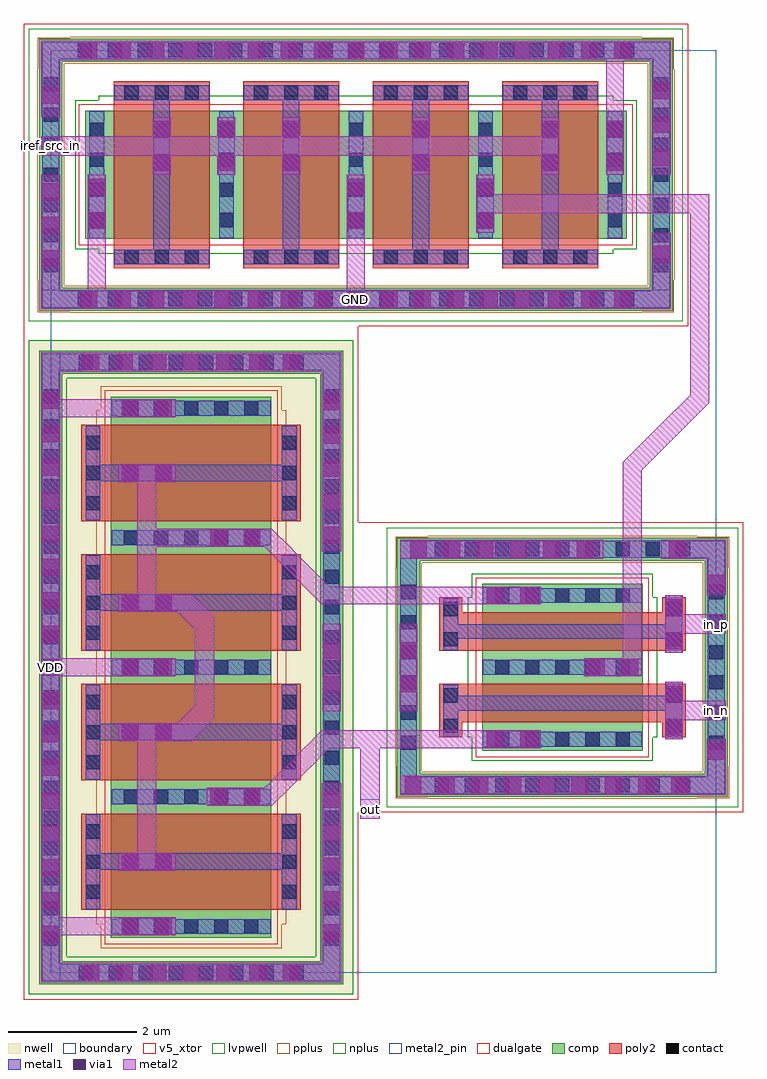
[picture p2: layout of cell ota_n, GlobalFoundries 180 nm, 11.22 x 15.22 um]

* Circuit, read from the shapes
.subckt ota_n GND VDD in_n in_p iref_src_in out
XM1 iref_src_in iref_src_in GND GND nfet_05v0 w=2u l=1.5u m=2
XM2 n1 iref_src_in GND GND nfet_05v0 w=2u l=1.5u m=2
XM3 n1 in_n out GND nfet_05v0 w=2.5u l=0.6u
XM4 n2 in_p n1 GND nfet_05v0 w=2.5u l=0.6u
XM5 out n2 VDD VDD pfet_05v0 w=2.5u l=1.5u m=2
XM6 n2 n2 VDD VDD pfet_05v0 w=2.5u l=1.5u m=2
.ends

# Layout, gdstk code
from math import pi, radians
import gdstk
lib = gdstk.Library(unit=1e-6, precision=1e-09)
def R(c, l, rs):  # rectangles x0, y0, x1, y1
    for r in rs: c.add(gdstk.rectangle(r[:2], r[2:], *l))
def A(c, l, x, y, w, h, nx, ny, dx, dy):  # array of equal rectangles
    R(c, l, [(x+i*dx, y+j*dy, x+i*dx+w, y+j*dy+h) for i in range(nx) for j in range(ny)])
def P(c, l, *ps):  # polygons
    for p in ps: c.add(gdstk.Polygon(p, *l))
boundary = (0, 0)
nwell = (21, 0)
comp = (22, 0)
poly2 = (30, 0)
pplus = (31, 0)
nplus = (32, 0)
contact = (33, 0)
metal1 = (34, 0)
via1 = (35, 0)
metal2 = (36, 0)
metal2_pin = (36, 10)
dualgate = (55, 0)
v5_xtor = (112, 1)
lvpwell = (204, 0)

ota_n_dp = lib.new_cell('ota_n_dp')
R(ota_n_dp, boundary, [(-1.84,-2.4,1.84,2.4)])
R(ota_n_dp, comp, [(-2.02,-2.58,2.02,-2.22), (-2.02,-2.22,-1.66,2.22), (1.66,-2.22,2.02,2.22), (-1.3,-1.25,1.3,1.25), (-2.02,2.22,2.02,2.58)])
R(ota_n_dp, poly2, [(-1.09,-1.92,-0.26,-1.56), (0.26,-1.92,1.09,-1.56), (-0.86,-1.56,-0.26,1.56), (0.26,-1.56,0.86,1.56), (-1.09,1.56,-0.26,1.92), (0.26,1.56,1.09,1.92)])
R(ota_n_dp, pplus, [(-1.535,-2.61,1.535,-2.6), (-2.04,-2.6,2.04,-2.19), (-2.04,-2.19,-1.63,-2.095), (1.63,-2.19,2.04,-2.095), (-2.05,-2.095,-1.63,2.095), (1.63,-2.095,2.05,2.095), (-2.04,2.095,-1.63,2.19), (1.63,2.095,2.04,2.19), (-2.04,2.19,2.04,2.6), (-1.535,2.6,1.535,2.61)])
R(ota_n_dp, nplus, [(-1.09,-1.48,1.09,-1.41), (-1.46,-1.41,1.46,1.41), (-1.09,1.41,1.09,1.48)])
A(ota_n_dp, contact, -1.285, -2.51, 0.22, 0.22, 6, 2, 0.47, 4.8)
A(ota_n_dp, contact, -1.95, -1.99, 0.22, 0.22, 1, 9, 0, 0.47)
A(ota_n_dp, contact, 1.73, -1.99, 0.22, 0.22, 1, 9, 0, 0.47)
A(ota_n_dp, contact, -1.23, -1.05, 0.22, 0.22, 3, 5, 1.12, 0.47)
R(ota_n_dp, contact, [(-1.02,-1.85,-0.8,-1.63), (-0.55,-1.85,-0.33,-1.63), (0.33,-1.85,0.55,-1.63), (0.8,-1.85,1.02,-1.63), (-1.02,1.63,-0.8,1.85), (-0.55,1.63,-0.33,1.85), (0.33,1.63,0.55,1.85), (0.8,1.63,1.02,1.85)])
A(ota_n_dp, metal1, -1.235, -1.24, 0.23, 2.48, 3, 1, 1.12, 0)
R(ota_n_dp, metal1, [(-1.955,-2.515,1.955,-2.285), (-1.955,-2.285,-1.725,2.285), (1.725,-2.285,1.955,2.285), (-1.08,-1.855,-0.27,-1.625), (0.27,-1.855,1.08,-1.625), (-0.675,-1.625,-0.445,1.625), (0.445,-1.625,0.675,1.625), (-1.08,1.625,-0.27,1.855), (0.27,1.625,1.08,1.855), (-1.955,2.285,1.955,2.515)])
R(ota_n_dp, dualgate, [(-2.26,-2.82,2.26,2.82)])
R(ota_n_dp, v5_xtor, [(-1.4,-1.35,1.4,1.35)])
R(ota_n_dp, lvpwell, [(-2.18,-2.74,2.18,2.74)])

ota_n_ld_cm = lib.new_cell('ota_n_ld_cm')
R(ota_n_ld_cm, boundary, [(-4.76,-2.19,4.76,2.19)])
R(ota_n_ld_cm, nwell, [(-5.1,-2.53,5.1,2.53)])
R(ota_n_ld_cm, comp, [(-4.94,-2.37,4.94,-2.01), (-4.94,-2.01,-4.58,2.01), (4.58,-2.01,4.94,2.01), (-4.22,-1.25,4.22,1.25), (-4.94,2.01,4.94,2.37)])
A(ota_n_ld_cm, poly2, -3.78, -1.71, 1.5, 3.42, 4, 1, 2.02, 0)
R(ota_n_ld_cm, pplus, [(-4.01,-1.48,4.01,-1.41), (-4.38,-1.41,4.38,1.41), (-4.01,1.41,4.01,1.48)])
R(ota_n_ld_cm, nplus, [(-5.1,-2.53,5.1,-1.94), (-5.1,-1.94,-4.51,1.94), (4.51,-1.94,5.1,1.94), (-5.1,1.94,5.1,2.53)])
A(ota_n_ld_cm, contact, -4.34, -2.3, 0.22, 0.22, 19, 2, 0.47, 4.38)
A(ota_n_ld_cm, contact, -4.87, -1.755, 0.22, 0.22, 1, 8, 0, 0.47)
A(ota_n_ld_cm, contact, 4.65, -1.755, 0.22, 0.22, 1, 8, 0, 0.47)
A(ota_n_ld_cm, contact, -3.61, -1.64, 0.22, 0.22, 3, 2, 0.47, 3.06)
A(ota_n_ld_cm, contact, -1.59, -1.64, 0.22, 0.22, 3, 2, 0.47, 3.06)
A(ota_n_ld_cm, contact, 0.43, -1.64, 0.22, 0.22, 3, 2, 0.47, 3.06)
A(ota_n_ld_cm, contact, 2.45, -1.64, 0.22, 0.22, 3, 2, 0.47, 3.06)
A(ota_n_ld_cm, contact, -4.15, -1.05, 0.22, 0.22, 5, 5, 2.02, 0.47)
A(ota_n_ld_cm, metal1, -3.77, -1.645, 1.48, 0.23, 4, 2, 2.02, 3.06)
A(ota_n_ld_cm, metal1, -4.155, -1.24, 0.23, 2.48, 5, 1, 2.02, 0)
R(ota_n_ld_cm, metal1, [(-4.875,-2.305,4.875,-2.075), (-4.875,-2.075,-4.645,2.075), (4.645,-2.075,4.875,2.075), (-4.875,2.075,4.875,2.305)])
R(ota_n_ld_cm, dualgate, [(-5.18,-2.61,5.18,2.61)])
R(ota_n_ld_cm, v5_xtor, [(-4.32,-1.35,4.32,1.35)])

ota_n_tail_cm = lib.new_cell('ota_n_tail_cm')
R(ota_n_tail_cm, boundary, [(-4.76,-1.94,4.76,1.94)])
R(ota_n_tail_cm, comp, [(-4.94,-2.12,4.94,-1.76), (-4.94,-1.76,-4.58,1.76), (4.58,-1.76,4.94,1.76), (-4.22,-1,4.22,1), (-4.94,1.76,4.94,2.12)])
A(ota_n_tail_cm, poly2, -3.78, -1.46, 1.5, 2.92, 4, 1, 2.02, 0)
R(ota_n_tail_cm, pplus, [(-4.455,-2.15,4.455,-2.14), (-4.96,-2.14,4.96,-1.73), (-4.96,-1.73,-4.55,-1.635), (4.55,-1.73,4.96,-1.635), (-4.97,-1.635,-4.55,1.635), (4.55,-1.635,4.97,1.635), (-4.96,1.635,-4.55,1.73), (4.55,1.635,4.96,1.73), (-4.96,1.73,4.96,2.14), (-4.455,2.14,4.455,2.15)])
R(ota_n_tail_cm, nplus, [(-4.01,-1.23,4.01,-1.16), (-4.38,-1.16,4.38,1.16), (-4.01,1.16,4.01,1.23)])
A(ota_n_tail_cm, contact, -4.34, -2.05, 0.22, 0.22, 19, 2, 0.47, 3.88)
A(ota_n_tail_cm, contact, -4.87, -1.52, 0.22, 0.22, 1, 7, 0, 0.47)
A(ota_n_tail_cm, contact, 4.65, -1.52, 0.22, 0.22, 1, 7, 0, 0.47)
A(ota_n_tail_cm, contact, -3.61, -1.39, 0.22, 0.22, 3, 2, 0.47, 2.56)
A(ota_n_tail_cm, contact, -1.59, -1.39, 0.22, 0.22, 3, 2, 0.47, 2.56)
A(ota_n_tail_cm, contact, 0.43, -1.39, 0.22, 0.22, 3, 2, 0.47, 2.56)
A(ota_n_tail_cm, contact, 2.45, -1.39, 0.22, 0.22, 3, 2, 0.47, 2.56)
A(ota_n_tail_cm, contact, -4.15, -0.815, 0.22, 0.22, 5, 4, 2.02, 0.47)
A(ota_n_tail_cm, metal1, -3.77, -1.395, 1.48, 0.23, 4, 2, 2.02, 2.56)
A(ota_n_tail_cm, metal1, -4.155, -0.99, 0.23, 1.98, 5, 1, 2.02, 0)
R(ota_n_tail_cm, metal1, [(-4.875,-2.055,4.875,-1.825), (-4.875,-1.825,-4.645,1.825), (4.645,-1.825,4.875,1.825), (-4.875,1.825,4.875,2.055)])
R(ota_n_tail_cm, dualgate, [(-5.18,-2.36,5.18,2.36)])
R(ota_n_tail_cm, v5_xtor, [(-4.32,-1.1,4.32,1.1)])
R(ota_n_tail_cm, lvpwell, [(-5.1,-2.28,5.1,2.28)])

ota_n = lib.new_cell('ota_n')
R(ota_n, boundary, [(0,0,10.38,14.38)])
A(ota_n, metal1, 1.05, 0.59, 0.9, 0.26, 1, 3, 0, 4.04)
A(ota_n, metal1, 0.775, 1.6, 2.83, 0.26, 1, 4, 0, 2.02)
A(ota_n, metal1, 1.6, 11.275, 0.26, 2.33, 4, 1, 2.02, 0)
R(ota_n, metal1, [(-0.13,-0.13,4.51,0.13), (-0.13,0.13,0.13,9.39), (4.25,0.13,4.51,9.39), (2.43,2.61,3.33,2.87), (5.45,2.79,10.51,3.05), (5.45,3.05,5.71,6.47), (10.25,3.05,10.51,6.47), (6.74,3.51,7.64,3.77), (9.59,3.635,9.85,3.855), (9.58,3.855,9.85,4.085), (9.59,4.085,9.85,4.535), (8.32,4.63,9.22,4.89), (9.59,4.985,9.85,5.885), (6.74,5.75,7.64,6.01), (5.45,6.47,10.51,6.73), (2.43,6.65,3.33,6.91), (-0.13,9.39,4.51,9.65), (-0.13,10.37,9.65,10.63), (-0.13,10.63,0.13,14.25), (9.39,10.63,9.65,14.25), (0.59,11.54,0.85,12.44), (4.63,11.54,4.89,12.44), (6.65,11.54,6.91,12.44), (2.61,12.44,2.87,13.34), (8.67,12.44,8.93,13.34), (6.665,12.475,6.895,12.48), (-0.13,14.25,9.65,14.51)])
A(ota_n, via1, 0.5, -0.13, 0.26, 0.26, 7, 2, 0.52, 9.52)
A(ota_n, via1, -0.13, 0.47, 0.26, 0.26, 1, 17, 0, 0.52)
A(ota_n, via1, 4.25, 0.49, 0.26, 0.26, 1, 5, 0, 0.52)
A(ota_n, via1, 5.52, 2.79, 0.26, 0.26, 9, 1, 0.52, 0)
A(ota_n, via1, 1.11, 3.62, 0.26, 0.26, 1, 3, 0, 1.01)
A(ota_n, via1, 1.63, 3.62, 0.26, 0.26, 1, 3, 0, 1.01)
A(ota_n, via1, 5.605, 6.47, 0.26, 0.26, 6, 1, 0.52, 0)
A(ota_n, via1, 4.25, 6.69, 0.26, 0.26, 1, 5, 0, 0.52)
A(ota_n, via1, 0.47, 10.37, 0.26, 0.26, 17, 2, 0.52, 3.88)
A(ota_n, via1, -0.13, 11.005, 0.26, 0.26, 1, 3, 0, 0.52)
A(ota_n, via1, 1.6, 12.5, 0.26, 0.26, 3, 2, 1.01, 0.52)
A(ota_n, via1, 9.39, 12.575, 0.26, 0.26, 1, 3, 0, 0.52)
R(ota_n, via1, [(1.11,0.59,1.37,0.85), (1.63,0.59,1.89,0.85), (1.11,1.6,1.37,1.86), (1.63,1.6,1.89,1.86), (2.49,2.61,2.75,2.87), (3.01,2.61,3.27,2.87), (10.25,3.315,10.51,3.575), (6.8,3.51,7.06,3.77), (7.32,3.51,7.58,3.77), (9.59,3.695,9.85,3.955), (9.59,4.215,9.85,4.475), (4.25,4.37,4.51,4.63), (5.45,4.37,5.71,4.63), (8.38,4.63,8.64,4.89), (8.9,4.63,9.16,4.89), (4.25,4.89,4.51,5.15), (5.45,4.89,5.71,5.15), (9.59,5.045,9.85,5.305), (9.59,5.565,9.85,5.825), (6.8,5.75,7.06,6.01), (7.32,5.75,7.58,6.01), (10.25,5.945,10.51,6.205), (9.635,6.47,9.895,6.73), (2.49,6.65,2.75,6.91), (3.01,6.65,3.27,6.91), (1.11,7.66,1.37,7.92), (1.63,7.66,1.89,7.92), (1.11,8.67,1.37,8.93), (1.63,8.67,1.89,8.93), (9.39,11.075,9.65,11.335), (0.59,11.6,0.85,11.86), (4.63,11.6,4.89,11.86), (6.65,11.6,6.91,11.86), (0.59,12.12,0.85,12.38), (4.63,12.12,4.89,12.38), (6.65,12.12,6.91,12.38), (5.64,12.5,5.9,12.76), (7.66,12.5,7.92,12.76), (8.67,12.5,8.93,12.76), (5.64,13.02,5.9,13.28), (7.66,13.02,7.92,13.28), (8.67,13.02,8.93,13.28), (-0.13,13.545,0.13,13.805)])
A(ota_n, metal2, -0.15, 0.58, 2.1, 0.28, 1, 3, 0, 4.04)
A(ota_n, metal2, 1.59, 12.44, 0.28, 0.3, 3, 2, 1.01, 0.6)
R(ota_n, metal2, [(-0.15,-0.15,4.53,0.15), (-0.15,0.15,0.15,0.58), (4.23,0.15,4.53,2.95), (-0.15,0.86,0.15,4.62), (1.05,1.59,1.95,1.87), (1.35,1.87,1.65,3.61), (4.83,2.4,5.13,3.5), (2.43,2.6,3.45,2.88), (5.45,2.77,10.53,3.07), (3.34,2.88,3.45,2.89), (3.405,2.89,3.74,2.955), (3.5,2.955,3.805,3.05), (3.755,3.05,3.9,3.305), (10.23,3.07,10.53,3.635), (3.765,3.305,4.155,3.315), (3.96,3.315,4.165,3.5), (3.96,3.5,7.64,3.51), (4.06,3.51,7.64,3.61), (1.05,3.61,2.2,3.77), (4.11,3.61,7.64,3.66), (9.58,3.635,9.86,3.935), (4.22,3.66,7.64,3.77), (1.05,3.77,2.36,3.89), (4.23,3.77,7.64,3.78), (2.22,3.89,2.36,3.96), (9.58,3.935,10.53,4.235), (2.22,3.96,2.55,4.14), (4.24,4.075,4.52,5.44), (5.44,4.075,5.72,5.44), (2.25,4.14,2.55,5.38), (9.58,4.235,9.86,4.535), (8.32,4.62,9.22,4.9), (-0.15,4.9,0.15,8.66), (8.92,4.9,9.22,7.955), (9.58,4.985,9.86,5.285), (9.58,5.285,10.53,5.585), (2.22,5.38,2.55,5.56), (2.04,5.56,2.36,5.63), (9.58,5.585,9.86,5.885), (1.05,5.63,2.36,5.75), (4.23,5.74,7.64,5.75), (1.05,5.75,2.2,5.91), (4.22,5.75,7.64,5.86), (4.11,5.86,7.64,5.91), (10.23,5.885,10.53,6.45), (1.35,5.91,1.65,6.64), (4.06,5.91,7.64,6.01), (3.96,6.01,7.64,6.02), (3.96,6.02,4.165,6.205), (3.765,6.205,3.9,6.47), (5.45,6.45,8.62,6.75), (9.52,6.45,10.53,6.75), (3.5,6.47,3.805,6.565), (3.405,6.565,3.74,6.63), (4.23,6.57,4.53,9.37), (3.34,6.63,3.45,6.64), (1.35,6.64,3.45,6.92), (1.35,6.92,1.65,7.65), (1.05,7.65,1.95,7.93), (9.22,8.255,9.64,8.26), (9.555,8.26,9.64,8.59), (9.97,8.59,9.975,8.885), (9.97,8.885,10.27,11.84), (-0.15,8.94,0.15,9.37), (-0.15,9.37,4.53,9.67), (-0.15,10.35,9.67,10.65), (-0.15,10.65,0.15,12.44), (0.58,10.65,0.86,12.44), (4.62,10.65,4.9,12.44), (9.37,10.65,9.67,11.54), (6.64,11.54,6.92,11.84), (6.64,11.84,10.27,12.14), (6.64,12.14,6.92,12.44), (5.63,12.44,5.91,12.74), (7.65,12.44,7.93,12.74), (8.66,12.44,8.94,14.23), (9.37,12.44,9.67,14.23), (-0.15,12.74,7.93,13.04), (5.63,13.04,5.91,13.34), (7.65,13.04,7.93,13.34), (-0.15,13.34,0.15,14.23), (-0.15,14.23,9.67,14.53)])
P(ota_n, metal2, [(3.45,2.6),(3.45,2.89),(3.74,2.89)],
  [(3.74,2.89),(3.74,2.955),(3.805,2.955)],
  [(3.34,2.89),(3.405,2.955),(3.405,2.89)],
  [(3.805,2.955),(3.805,3.05),(3.9,3.05)],
  [(3.5,3.05),(3.755,3.305),(3.755,3.05)],
  [(4.155,3.305),(4.155,3.315),(4.165,3.315)],
  [(4.165,3.315),(4.165,3.5),(4.35,3.5)],
  [(3.9,3.05),(3.9,3.305),(4.155,3.305)],
  [(3.765,3.315),(3.96,3.51),(3.96,3.315)],
  [(4.11,3.66),(4.22,3.77),(4.22,3.66)],
  [(3.805,6.47),(3.805,6.565),(3.9,6.47)],
  [(8.92,7.955),(9.22,8.255),(9.22,7.955)],
  [(3.765,6.205),(3.5,6.47),(3.765,6.47)],
  [(2.04,5.56),(1.97,5.63),(2.04,5.63)],
  [(9.225,8.26),(9.555,8.59),(9.555,8.26)],
  [(2.2,5.75),(2.2,5.91),(2.36,5.75)],
  [(4.11,5.86),(4.06,5.91),(4.11,5.91)],
  [(9.22,7.835),(9.22,8.255),(9.64,8.255)],
  [(9.975,8.59),(9.975,8.885),(10.27,8.885)],
  [(4.165,6.02),(4.165,6.205),(4.35,6.02)],
  [(9.555,8.59),(9.97,9.005),(9.97,8.59)],
  [(3.74,6.565),(3.74,6.63),(3.805,6.565)],
  [(3.96,6.01),(3.765,6.205),(3.96,6.205)],
  [(3.45,6.63),(3.45,6.92),(3.74,6.63)],
  [(4.23,5.74),(4.22,5.75),(4.23,5.75)],
  [(3.34,6.63),(3.33,6.64),(3.34,6.64)],
  [(3.405,2.955),(3.5,3.05),(3.5,2.955)],
  [(3.5,6.47),(3.405,6.565),(3.5,6.565)],
  [(2.22,5.38),(2.04,5.56),(2.22,5.56)],
  [(2.22,4.14),(2.25,4.17),(2.25,4.14)],
  [(4.06,3.61),(4.11,3.66),(4.11,3.61)],
  [(3.405,6.565),(3.34,6.63),(3.405,6.63)],
  [(4.06,5.91),(3.96,6.01),(4.06,6.01)],
  [(4.22,5.75),(4.11,5.86),(4.22,5.86)],
  [(9.64,8.255),(9.64,8.59),(9.975,8.59)],
  [(2.36,5.56),(2.36,5.75),(2.55,5.56)],
  [(3.96,3.51),(4.06,3.61),(4.06,3.51)],
  [(2.25,5.35),(2.22,5.38),(2.25,5.38)],
  [(1.97,3.89),(2.22,4.14),(2.22,3.89)],
  [(2.36,3.77),(2.36,3.96),(2.55,3.96)],
  [(3.9,6.205),(3.9,6.47),(4.165,6.205)],
  [(3.33,2.88),(3.34,2.89),(3.34,2.88)],
  [(3.755,3.305),(3.765,3.315),(3.765,3.305)],
  [(4.22,3.77),(4.23,3.78),(4.23,3.77)],
  [(2.2,3.61),(2.2,3.77),(2.36,3.77)])
R(ota_n, metal2_pin, [(-0.15,-0.15,0.15,9.67), (4.83,2.4,5.13,2.7), (10.23,3.935,10.53,4.235), (10.23,5.285,10.53,5.585), (-0.15,10.35,9.67,10.65), (-0.15,12.74,0.15,13.04)])
R(ota_n, dualgate, [(4.8,2.5,5.16,7.02), (-0.42,9.94,4.8,10.08)])
ota_n.add(gdstk.Reference(ota_n_dp, (7.98,4.76), rotation=3*pi/2))
ota_n.add(gdstk.Reference(ota_n_ld_cm, (2.19,4.76), rotation=3*pi/2))
ota_n.add(gdstk.Reference(ota_n_tail_cm, (4.76,12.44)))
ota_n.add(gdstk.Label('out', (4.98,2.55), layer=36, texttype=10))
ota_n.add(gdstk.Label('in_p', (10.38,5.435), layer=36, texttype=10))
ota_n.add(gdstk.Label('iref_src_in', (0,12.89), layer=36, texttype=10))
ota_n.add(gdstk.Label('VDD', (0,4.76), layer=36, texttype=10))
ota_n.add(gdstk.Label('in_n', (10.38,4.085), layer=36, texttype=10))
ota_n.add(gdstk.Label('GND', (4.76,10.5), layer=36, texttype=10))

lib.write_gds('ota_n.gds')
